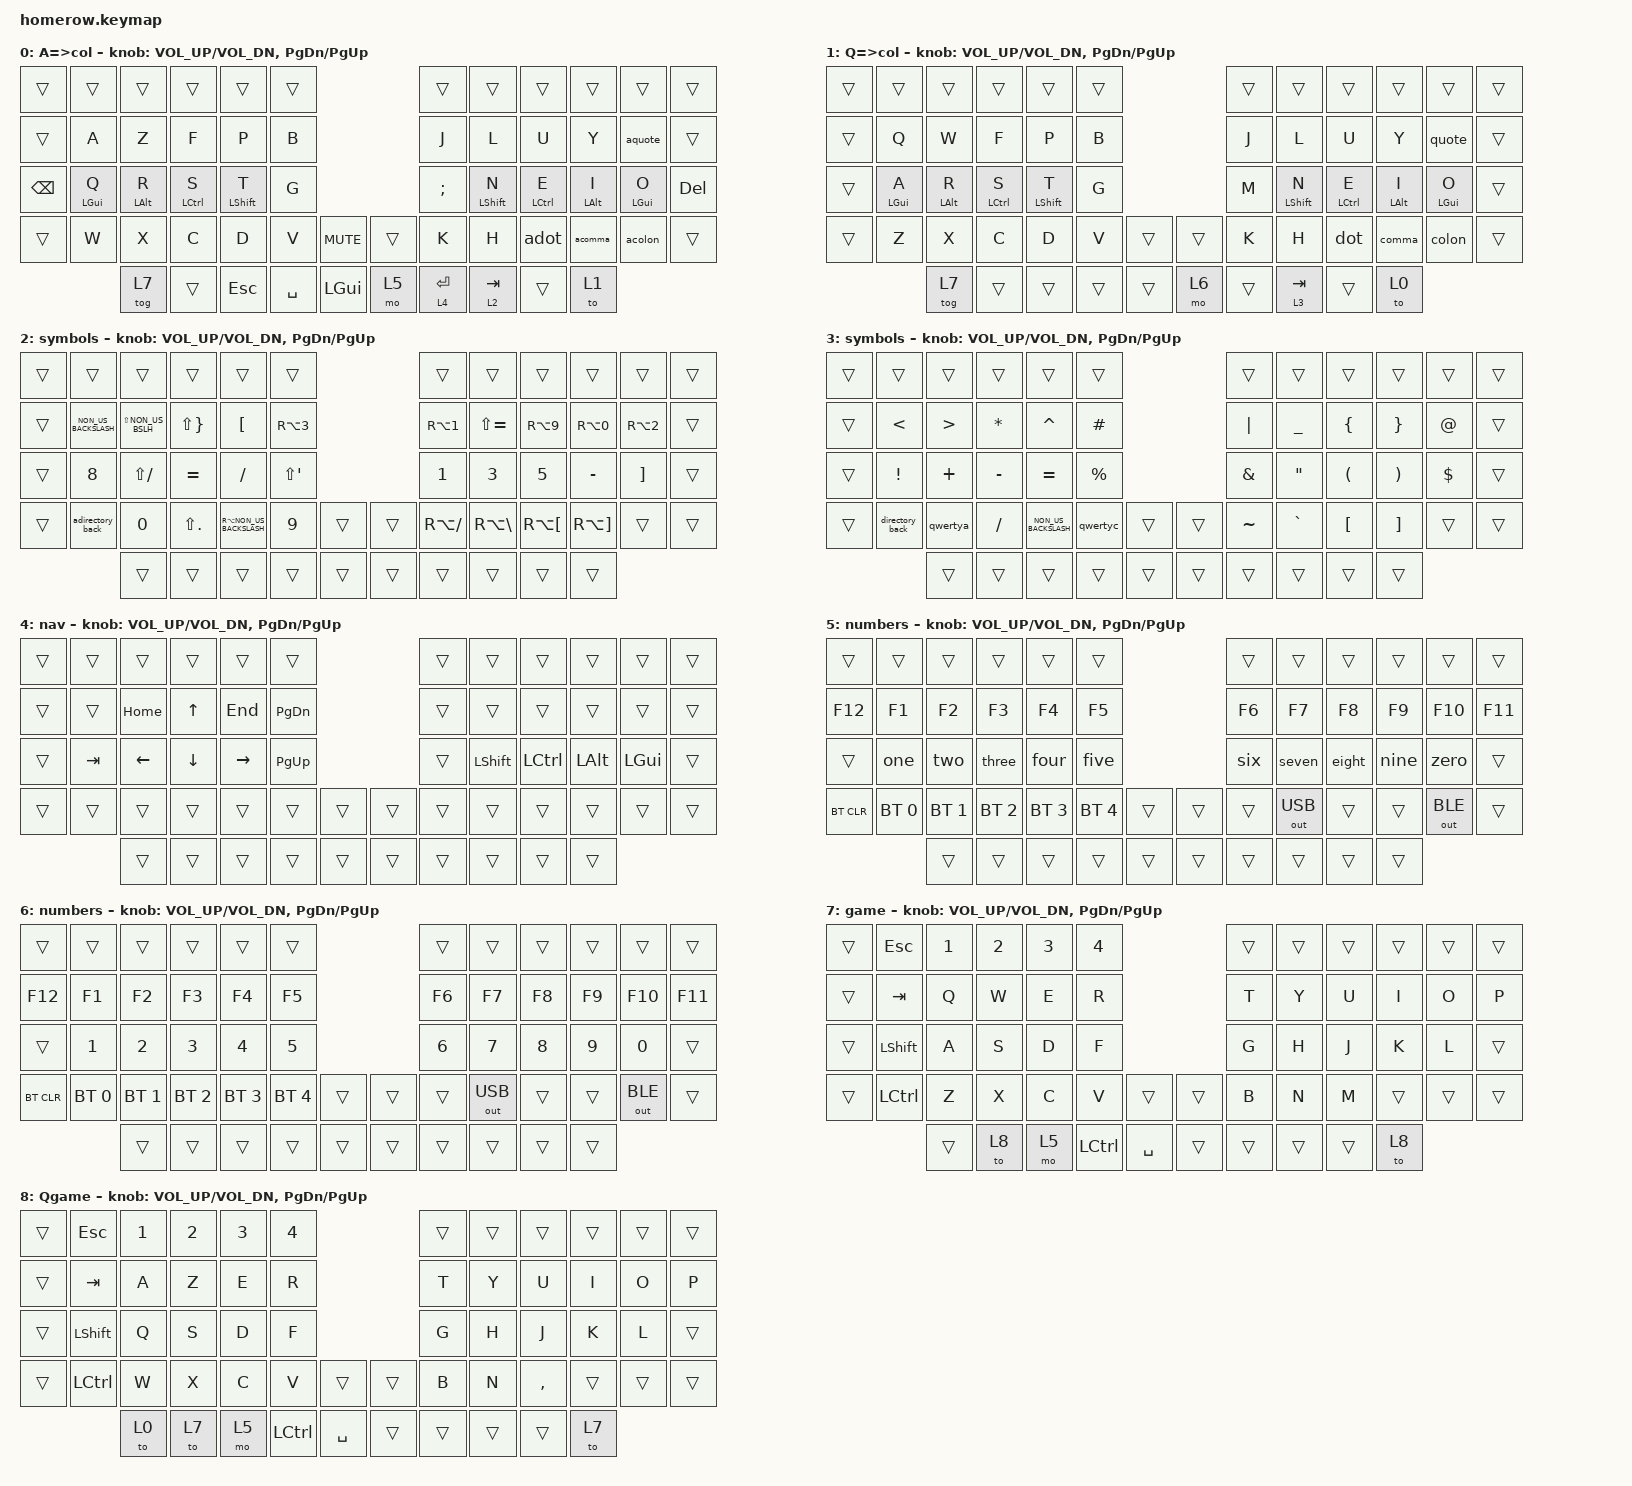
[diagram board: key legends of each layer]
/*
 * Copyright (c) 2020 The ZMK Contributors
 *
 * SPDX-License-Identifier: MIT
 */

#include <behaviors.dtsi>
#include <dt-bindings/zmk/bt.h>
#include <dt-bindings/zmk/keys.h>
#include <dt-bindings/zmk/outputs.h>

#define BASE 0
#define LOWER 1
#define RAISE 2
#define GAMING 3

&mt { tapping-term-ms = <200>; };

/ {
    // add 2ns nkp (non-overlap key press)

    behaviors {
        nkp2: non_overlap_key_press_2 {
            compatible = "zmk,behavior-non-overlap";
            #binding-cells = <1>;
            bindings = <&kp>;
        };

        lt2: layer_tap_2 {
            compatible = "zmk,behavior-hold-tap";
            #binding-cells = <2>;
            flavor = "hold-preferred";
            tapping-term-ms = <200>;
            bindings = <&mo>, <&kp>;
        };

        adot: adot {
            compatible = "zmk,behavior-mod-morph";
            #binding-cells = <0>;
            bindings = <&kp LESS_THAN>, <&kp LS(M)>;

            mods = <(MOD_LSFT|MOD_RSFT)>;
        };

        acomma: acomma {
            compatible = "zmk,behavior-mod-morph";
            #binding-cells = <0>;
            bindings = <&kp M>, <&kp N7>;

            mods = <(MOD_LSFT|MOD_RSFT)>;
        };

        acolon: acolon {
            compatible = "zmk,behavior-mod-morph";
            #binding-cells = <0>;
            bindings = <&kp DOT>, <&kp COMMA>;

            mods = <(MOD_LSFT|MOD_RSFT)>;
        };

        aquote: aquote {
            compatible = "zmk,behavior-mod-morph";
            #binding-cells = <0>;
            bindings = <&kp N4>, <&kp N2>;

            mods = <(MOD_LSFT|MOD_RSFT)>;
        };

        dot: dot {
            compatible = "zmk,behavior-mod-morph";
            #binding-cells = <0>;
            bindings = <&kp DOT>, <&kp QUESTION>;

            mods = <(MOD_LSFT|MOD_RSFT)>;
        };

        comma: comma {
            compatible = "zmk,behavior-mod-morph";
            #binding-cells = <0>;
            bindings = <&kp COMMA>, <&qwertyegrave>;

            mods = <(MOD_LSFT|MOD_RSFT)>;
        };

        colon: colon {
            compatible = "zmk,behavior-mod-morph";
            #binding-cells = <0>;
            bindings = <&kp COLON>, <&kp SEMICOLON>;

            mods = <(MOD_LSFT|MOD_RSFT)>;
        };

        quote: quote {
            compatible = "zmk,behavior-mod-morph";
            #binding-cells = <0>;
            bindings = <&kp SINGLE_QUOTE>, <&kp RA(E)>;

            mods = <(MOD_LSFT|MOD_RSFT)>;
        };

        one: one {
            compatible = "zmk,behavior-mod-morph";
            #binding-cells = <0>;
            bindings = <&kp LS(NUMBER_1)>, <&kp NUMBER_1>;

            keep-mods = <(MOD_LGUI|MOD_LSFT|MOD_RGUI|MOD_RSFT|MOD_LCTL|MOD_RCTL|MOD_LALT|MOD_RALT)>;
            mods = <(MOD_LGUI|MOD_LSFT|MOD_RGUI|MOD_RSFT|MOD_LCTL|MOD_RCTL|MOD_LALT|MOD_RALT)>;
        };

        two: two {
            compatible = "zmk,behavior-mod-morph";
            #binding-cells = <0>;
            bindings = <&kp LS(NUMBER_2)>, <&kp NUMBER_2>;

            keep-mods = <(MOD_LGUI|MOD_LSFT|MOD_RGUI|MOD_RSFT|MOD_LCTL|MOD_RCTL|MOD_LALT|MOD_RALT)>;
            mods = <(MOD_LGUI|MOD_LSFT|MOD_RGUI|MOD_RSFT|MOD_LCTL|MOD_RCTL|MOD_LALT|MOD_RALT)>;
        };

        three: three {
            compatible = "zmk,behavior-mod-morph";
            #binding-cells = <0>;
            bindings = <&kp LS(NUMBER_3)>, <&kp NUMBER_3>;

            keep-mods = <(MOD_LGUI|MOD_LSFT|MOD_RGUI|MOD_RSFT|MOD_LCTL|MOD_RCTL|MOD_LALT|MOD_RALT)>;
            mods = <(MOD_LGUI|MOD_LSFT|MOD_RGUI|MOD_RSFT|MOD_LCTL|MOD_RCTL|MOD_LALT|MOD_RALT)>;
        };

        four: four {
            compatible = "zmk,behavior-mod-morph";
            #binding-cells = <0>;
            bindings = <&kp LS(NUMBER_4)>, <&kp NUMBER_4>;

            keep-mods = <(MOD_LGUI|MOD_LSFT|MOD_RGUI|MOD_RSFT|MOD_LCTL|MOD_RCTL|MOD_LALT|MOD_RALT)>;
            mods = <(MOD_LGUI|MOD_LSFT|MOD_RGUI|MOD_RSFT|MOD_LCTL|MOD_RCTL|MOD_LALT|MOD_RALT)>;
        };

        five: five {
            compatible = "zmk,behavior-mod-morph";
            #binding-cells = <0>;
            bindings = <&kp LS(NUMBER_5)>, <&kp NUMBER_5>;

            keep-mods = <(MOD_LGUI|MOD_LSFT|MOD_RGUI|MOD_RSFT|MOD_LCTL|MOD_RCTL|MOD_LALT|MOD_RALT)>;
            mods = <(MOD_LGUI|MOD_LSFT|MOD_RGUI|MOD_RSFT|MOD_LCTL|MOD_RCTL|MOD_LALT|MOD_RALT)>;
        };

        six: six {
            compatible = "zmk,behavior-mod-morph";
            #binding-cells = <0>;
            bindings = <&kp LS(NUMBER_6)>, <&kp NUMBER_6>;

            keep-mods = <(MOD_LGUI|MOD_LSFT|MOD_RGUI|MOD_RSFT|MOD_LCTL|MOD_RCTL|MOD_LALT|MOD_RALT)>;
            mods = <(MOD_LGUI|MOD_LSFT|MOD_RGUI|MOD_RSFT|MOD_LCTL|MOD_RCTL|MOD_LALT|MOD_RALT)>;
        };

        seven: seven {
            compatible = "zmk,behavior-mod-morph";
            #binding-cells = <0>;
            bindings = <&kp LS(NUMBER_7)>, <&kp NUMBER_7>;

            keep-mods = <(MOD_LGUI|MOD_LSFT|MOD_RGUI|MOD_RSFT|MOD_LCTL|MOD_RCTL|MOD_LALT|MOD_RALT)>;
            mods = <(MOD_LGUI|MOD_LSFT|MOD_RGUI|MOD_RSFT|MOD_LCTL|MOD_RCTL|MOD_LALT|MOD_RALT)>;
        };

        eight: eight {
            compatible = "zmk,behavior-mod-morph";
            #binding-cells = <0>;
            bindings = <&kp LS(NUMBER_8)>, <&kp NUMBER_8>;

            keep-mods = <(MOD_LGUI|MOD_LSFT|MOD_RGUI|MOD_RSFT|MOD_LCTL|MOD_RCTL|MOD_LALT|MOD_RALT)>;
            mods = <(MOD_LGUI|MOD_LSFT|MOD_RGUI|MOD_RSFT|MOD_LCTL|MOD_RCTL|MOD_LALT|MOD_RALT)>;
        };

        nine: nine {
            compatible = "zmk,behavior-mod-morph";
            #binding-cells = <0>;
            bindings = <&kp LS(NUMBER_9)>, <&kp NUMBER_9>;

            keep-mods = <(MOD_LGUI|MOD_LSFT|MOD_RGUI|MOD_RSFT|MOD_LCTL|MOD_RCTL|MOD_LALT|MOD_RALT)>;
            mods = <(MOD_LGUI|MOD_LSFT|MOD_RGUI|MOD_RSFT|MOD_LCTL|MOD_RCTL|MOD_LALT|MOD_RALT)>;
        };

        zero: zero {
            compatible = "zmk,behavior-mod-morph";
            #binding-cells = <0>;
            bindings = <&kp LS(NUMBER_0)>, <&kp NUMBER_0>;

            keep-mods = <(MOD_LGUI|MOD_LSFT|MOD_RGUI|MOD_RSFT|MOD_LCTL|MOD_RCTL|MOD_LALT|MOD_RALT)>;
            mods = <(MOD_LGUI|MOD_LSFT|MOD_RGUI|MOD_RSFT|MOD_LCTL|MOD_RCTL|MOD_LALT|MOD_RALT)>;
        };
    };

    conditional_layers { compatible = "zmk,conditional-layers"; };

    combos {
        compatible = "zmk,combos";

        nav {
            timeout-ms = <100>;
            bindings = <&mo 4>;
            key-positions = <56 53>;
        };
    };

    macros {
        qwertyegrave: qwertyegrave {
            compatible = "zmk,behavior-macro";
            #binding-cells = <0>;
            bindings = <&kp GRAVE &kp E>;
            label = "QWERTYEGRAVE";
        };

        directory_back: directory_back {
            compatible = "zmk,behavior-macro";
            #binding-cells = <0>;
            bindings = <&kp DOT &kp DOT &kp FSLH>;
            label = "DIRECTORY_BACK";
        };

        adirectory_back: adirectory_back {
            compatible = "zmk,behavior-macro";
            #binding-cells = <0>;
            bindings = <&kp LT &kp LT &kp LS(DOT)>;
            label = "ADIRECTORY_BACK";
        };

        qwertyc: qwertyc {
            compatible = "zmk,behavior-macro";
            #binding-cells = <0>;
            bindings = <&kp RA(COMMA) &kp C>;
            label = "QWERTYC";
        };

        qwertya: qwertya {
            compatible = "zmk,behavior-macro";
            #binding-cells = <0>;
            bindings = <&kp GRAVE &kp A>;
            label = "QWERTYA";
        };
    };

    keymap {
        compatible = "zmk,keymap";

        azerty_colemak {
            display-name = "A=>col";
            bindings = <
&trans         &trans          &trans          &trans       &trans            &trans                           &trans         &trans            &trans       &trans          &trans          &trans
&trans         &kp A           &kp Z           &kp F        &kp P             &kp B                            &kp J          &kp L             &kp U        &kp Y           &aquote         &trans
&kp BACKSPACE  &mt LEFT_GUI Q  &mt LEFT_ALT R  &mt LCTRL S  &mt LEFT_SHIFT T  &kp G                            &kp SEMICOLON  &mt LEFT_SHIFT N  &mt LCTRL E  &mt LEFT_ALT I  &mt LEFT_GUI O  &kp DELETE
&trans         &kp W           &kp X           &kp C        &kp D             &kp V      &kp C_MUTE    &trans  &kp K          &kp H             &adot        &acomma         &acolon         &trans
                               &tog 7          &trans       &kp ESCAPE        &kp SPACE  &kp LGUI      &mo 5   &lt 4 ENTER    &lt 2 TAB         &trans       &to 1
            >;

            sensor-bindings =
                <&inc_dec_kp C_VOL_UP C_VOL_DN>,
                <&inc_dec_kp PG_DN PG_UP>;
        };

        qwerty_colemak {
            display-name = "Q=>col";
            bindings = <
&trans  &trans          &trans          &trans       &trans            &trans                    &trans  &trans            &trans       &trans          &trans          &trans
&trans  &kp Q           &kp W           &kp F        &kp P             &kp B                     &kp J   &kp L             &kp U        &kp Y           &quote          &trans
&trans  &mt LEFT_GUI A  &mt LEFT_ALT R  &mt LCTRL S  &mt LEFT_SHIFT T  &kp G                     &kp M   &mt LEFT_SHIFT N  &mt LCTRL E  &mt LEFT_ALT I  &mt LEFT_GUI O  &trans
&trans  &kp Z           &kp X           &kp C        &kp D             &kp V   &trans    &trans  &kp K   &kp H             &dot         &comma          &colon          &trans
                        &tog 7          &trans       &trans            &trans  &trans    &mo 6   &trans  &lt 3 TAB         &trans       &to 0
            >;

            sensor-bindings =
                <&inc_dec_kp C_VOL_UP C_VOL_DN>,
                <&inc_dec_kp PG_DN PG_UP>;
        };

        Asymbols {
            display-name = "symbols";
            bindings = <
&trans  &trans                &trans               &trans               &trans                    &trans                                &trans            &trans             &trans                &trans                 &trans             &trans
&trans  &kp NON_US_BACKSLASH  &kp LS(NON_US_BSLH)  &kp LS(RIGHT_BRACE)  &kp LEFT_BRACKET          &kp RA(N3)                            &kp RA(NUMBER_1)  &kp LS(EQUAL)      &kp RA(NUMBER_9)      &kp RA(NUMBER_0)       &kp RA(NUMBER_2)   &trans
&trans  &kp NUMBER_8          &kp LS(SLASH)        &kp EQUAL            &kp SLASH                 &kp LS(APOSTROPHE)                    &kp NUMBER_1      &kp NUMBER_3       &kp N5                &kp MINUS              &kp RIGHT_BRACKET  &trans
&trans  &adirectory_back      &kp N0               &kp LS(DOT)          &kp RA(NON_US_BACKSLASH)  &kp NUMBER_9        &trans    &trans  &kp RA(SLASH)     &kp RA(BACKSLASH)  &kp RA(LEFT_BRACKET)  &kp RA(RIGHT_BRACKET)  &trans             &trans
                              &trans               &trans               &trans                    &trans              &trans    &trans  &trans            &trans             &trans                &trans
            >;

            sensor-bindings =
                <&inc_dec_kp C_VOL_UP C_VOL_DN>,
                <&inc_dec_kp PG_DN PG_UP>;
        };

        Qsymbols {
            display-name = "symbols";
            bindings = <
&trans  &trans           &trans            &trans        &trans                &trans                         &trans     &trans             &trans                &trans                 &trans       &trans
&trans  &kp LESS_THAN    &kp GREATER_THAN  &kp ASTERISK  &kp CARET             &kp HASH                       &kp PIPE   &kp UNDERSCORE     &kp LEFT_BRACE        &kp RIGHT_BRACE        &kp AT_SIGN  &trans
&trans  &kp EXCLAMATION  &kp PLUS          &kp MINUS     &kp EQUAL             &kp PERCENT                    &kp AMPS   &kp DOUBLE_QUOTES  &kp LEFT_PARENTHESIS  &kp RIGHT_PARENTHESIS  &kp DOLLAR   &trans
&trans  &directory_back  &qwertya          &kp SLASH     &kp NON_US_BACKSLASH  &qwertyc     &trans    &trans  &kp TILDE  &kp GRAVE          &kp LEFT_BRACKET      &kp RIGHT_BRACKET      &trans       &trans
                         &trans            &trans        &trans                &trans       &trans    &trans  &trans     &trans             &trans                &trans
            >;

            sensor-bindings =
                <&inc_dec_kp C_VOL_UP C_VOL_DN>,
                <&inc_dec_kp PG_DN PG_UP>;
        };

        navigation {
            display-name = "nav";
            bindings = <
&trans  &trans   &trans          &trans          &trans           &trans                       &trans  &trans          &trans     &trans    &trans    &trans
&trans  &trans   &kp HOME        &kp UP_ARROW    &kp END          &kp PG_DN                    &trans  &trans          &trans     &trans    &trans    &trans
&trans  &kp TAB  &kp LEFT_ARROW  &kp DOWN_ARROW  &kp RIGHT_ARROW  &kp PG_UP                    &trans  &kp LEFT_SHIFT  &kp LCTRL  &kp LALT  &kp LGUI  &trans
&trans  &trans   &trans          &trans          &trans           &trans     &trans    &trans  &trans  &trans          &trans     &trans    &trans    &trans
                 &trans          &trans          &trans           &trans     &trans    &trans  &trans  &trans          &trans     &trans
            >;

            sensor-bindings =
                <&inc_dec_kp C_VOL_UP C_VOL_DN>,
                <&inc_dec_kp PG_DN PG_UP>;
        };

        Anumber_fn {
            display-name = "numbers";
            bindings = <
&trans      &trans        &trans        &trans        &trans        &trans                          &trans  &trans        &trans  &trans  &trans        &trans
&kp F12     &kp F1        &kp F2        &kp F3        &kp F4        &kp F5                          &kp F6  &kp F7        &kp F8  &kp F9  &kp F10       &kp F11
&trans      &one          &two          &three        &four         &five                           &six    &seven        &eight  &nine   &zero         &trans
&bt BT_CLR  &bt BT_SEL 0  &bt BT_SEL 1  &bt BT_SEL 2  &bt BT_SEL 3  &bt BT_SEL 4  &trans    &trans  &trans  &out OUT_USB  &trans  &trans  &out OUT_BLE  &trans
                          &trans        &trans        &trans        &trans        &trans    &trans  &trans  &trans        &trans  &trans
            >;

            sensor-bindings =
                <&inc_dec_kp C_VOL_UP C_VOL_DN>,
                <&inc_dec_kp PG_DN PG_UP>;
        };

        Qnumbers_fn {
            display-name = "numbers";
            bindings = <
&trans      &trans        &trans        &trans        &trans        &trans                          &trans  &trans        &trans  &trans  &trans        &trans
&kp F12     &kp F1        &kp F2        &kp F3        &kp F4        &kp F5                          &kp F6  &kp F7        &kp F8  &kp F9  &kp F10       &kp F11
&trans      &kp NUMBER_1  &kp N2        &kp N3        &kp N4        &kp N5                          &kp N6  &kp N7        &kp N8  &kp N9  &kp N0        &trans
&bt BT_CLR  &bt BT_SEL 0  &bt BT_SEL 1  &bt BT_SEL 2  &bt BT_SEL 3  &bt BT_SEL 4  &trans    &trans  &trans  &out OUT_USB  &trans  &trans  &out OUT_BLE  &trans
                          &trans        &trans        &trans        &trans        &trans    &trans  &trans  &trans        &trans  &trans
            >;

            sensor-bindings =
                <&inc_dec_kp C_VOL_UP C_VOL_DN>,
                <&inc_dec_kp PG_DN PG_UP>;
        };

        gaming {
            display-name = "game";
            bindings = <
&trans  &kp ESCAPE      &kp NUMBER_1  &kp NUMBER_2  &kp NUMBER_3  &kp NUMBER_4                       &trans  &trans  &trans  &trans  &trans  &trans
&trans  &kp TAB         &kp Q         &kp W         &kp E         &kp R                              &kp T   &kp Y   &kp U   &kp I   &kp O   &kp P
&trans  &kp LEFT_SHIFT  &kp A         &kp S         &kp D         &kp F                              &kp G   &kp H   &kp J   &kp K   &kp L   &trans
&trans  &kp LCTRL       &kp Z         &kp X         &kp C         &kp V         &trans       &trans  &kp B   &kp N   &kp M   &trans  &trans  &trans
                        &trans        &to 8         &mo 5         &kp LCTRL     &kp SPACE    &trans  &trans  &trans  &trans  &to 8
            >;

            sensor-bindings =
                <&inc_dec_kp C_VOL_UP C_VOL_DN>,
                <&inc_dec_kp PG_DN PG_UP>;
        };

        gaming_qwerty {
            display-name = "Qgame";
            bindings = <
&trans  &kp ESC         &kp NUMBER_1  &kp NUMBER_2  &kp NUMBER_3  &kp NUMBER_4                       &trans  &trans  &trans     &trans  &trans  &trans
&trans  &kp TAB         &kp A         &kp Z         &kp E         &kp R                              &kp T   &kp Y   &kp U      &kp I   &kp O   &kp P
&trans  &kp LEFT_SHIFT  &kp Q         &kp S         &kp D         &kp F                              &kp G   &kp H   &kp J      &kp K   &kp L   &trans
&trans  &kp LCTRL       &kp W         &kp X         &kp C         &kp V         &trans       &trans  &kp B   &kp N   &kp COMMA  &trans  &trans  &trans
                        &to 0         &to 7         &mo 5         &kp LCTRL     &kp SPACE    &trans  &trans  &trans  &trans     &to 7
            >;

            sensor-bindings =
                <&inc_dec_kp C_VOL_UP C_VOL_DN>,
                <&inc_dec_kp PG_DN PG_UP>;

            label = "gaming";
        };
    };
};
